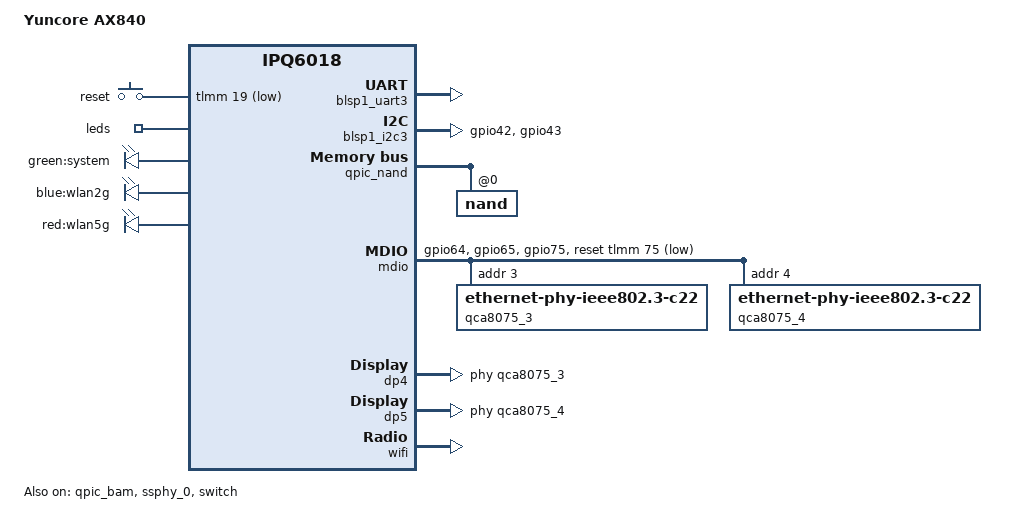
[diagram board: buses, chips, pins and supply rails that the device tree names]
// SPDX-License-Identifier: MIT, GPL-2.0 or later
/* Copyright (c) 2023, Ruslan Isaev <legale.legale@gmail.com> */


/dts-v1/;

#define __IPQ_MEM_PROFILE_512_MB__

#include "ipq6018.dtsi"
#include "ipq6018-memory.dtsi"
#include "ipq6018-ess.dtsi"
#include "ipq6018-upstreamable.dtsi"
#include "ipq6018-regulator-mp5496.dtsi"
#include <dt-bindings/gpio/gpio.h>
#include <dt-bindings/input/input.h>

/ {
	model = "Yuncore AX840";
	compatible = "yuncore,ax840", "qcom,ipq6018", "qcom,ipq6018-cp03", "qcom,ipq6018-cp03-c1";

	aliases {
		serial0 = &blsp1_uart3;
		led-boot = &led_system;
		led-failsafe = &led_system;
		led-running = &led_system;
		led-upgrade = &led_system;
		/*
		 * Aliases as required by u-boot
		 * to patch MAC addresses
		 */
		ethernet0 = &dp5;
		ethernet1 = &dp4;
	};

	chosen {
		stdout-path = "serial0:115200n8";
	};

	keys {
		compatible = "gpio-keys";

		reset {
			label = "reset";
			gpios = <&tlmm 19 GPIO_ACTIVE_LOW>;
			linux,code = <KEY_RESTART>;
		};
		leds {
			compatible = "gpio-leds";
			pinctrl-0 = <&leds_pins>;
			pinctrl-names = "default";

			led_system: system {
				label = "green:system";
				gpio = <&tlmm 37 GPIO_ACTIVE_HIGH>;
			};

			wlan2g {
				label = "blue:wlan2g";
				gpio = <&tlmm 35 GPIO_ACTIVE_HIGH>;
			};

			wlan5g {
				label = "red:wlan5g";
				gpio = <&tlmm 32 GPIO_ACTIVE_HIGH>;
			};
		};
	};
};

&tlmm {
	i2c_1_pins: i2c-1-state {
		pins = "gpio42", "gpio43";
		function = "blsp2_i2c";
		drive-strength = <8>;
	};

	mdio_pins: mdio-state {
		mdc-pins {
			bias-pull-up;
			drive-strength = <8>;
			function = "mdc";
			pins = "gpio64";
		};

		mdio-pins {
			bias-pull-up;
			drive-strength = <8>;
			function = "mdio";
			pins = "gpio65";
		};

		gpio-pins {
			bias-pull-up;
			function = "gpio";
			pins = "gpio75";
		};
	};

	leds_pins: leds_pins {
		led_blue {
			pins = "gpio35";
			function = "gpio";
			drive-strength = <2>;
			bias-pull-down;
		};

		led_green {
			pins = "gpio37";
			function = "gpio";
			drive-strength = <2>;
			bias-pull-down;
		};

		led_red {
			pins = "gpio32";
			function = "gpio";
			drive-strength = <2>;
			bias-pull-down;
		};
	};
};

&blsp1_uart3 {
	pinctrl-0 = <&serial_3_pins>;
	pinctrl-names = "default";
	status = "okay";
};

&blsp1_i2c3 {
	pinctrl-0 = <&i2c_1_pins>;
	pinctrl-names = "default";
	status = "okay";
};

&qpic_bam {
	status = "okay";
};

&qpic_nand {
	status = "okay";

	nand@0 {
		reg = <0>;

		nand-ecc-strength = <4>;
		nand-ecc-step-size = <512>;
		nand-bus-width = <8>;

		partitions {
			compatible = "qcom,smem-part";
		};
	};
};

&ssphy_0 {
	status = "okay";
};

&mdio {
	status = "okay";

	pinctrl-0 = <&mdio_pins>;
	pinctrl-names = "default";
	reset-gpios = <&tlmm 75 GPIO_ACTIVE_LOW>;

	qca8075_3: ethernet-phy@3 {
		compatible = "ethernet-phy-ieee802.3-c22";
		reg = <3>;
	};

	qca8075_4: ethernet-phy@4 {
		compatible = "ethernet-phy-ieee802.3-c22";
		reg = <4>;
	};
};

&switch {
	switch_cpu_bmp = <0x1>;   /* cpu port bitmap */
	switch_lan_bmp = <0x1e>;  /* lan port bitmap */
	switch_wan_bmp = <0x20>;  /* wan port bitmap */
	switch_inner_bmp = <0xc0>;/*inner port bitmap*/
	switch_mac_mode = <0x0>;  /* mac mode for uniphy instance0*/
	switch_mac_mode1 = <0xff>;/* mac mode for uniphy instance1*/
	switch_mac_mode2 = <0xff>;/* mac mode for uniphy instance2*/
	status = "okay";

	qcom,port_phyinfo {
		/delete-node/ port@0;
		/delete-node/ port@1;
		/delete-node/ port@2;
		port@3 {
			port_id = <4>;
			phy_address = <3>;
		};
		port@4 {
			port_id = <5>;
			phy_address = <4>;
		};
	};
};

&edma {
	status = "okay";
};

&dp4 {
	status = "okay";
	phy-handle = <&qca8075_3>;
	label = "lan";
};

&dp5 {
	status = "okay";
	phy-handle = <&qca8075_4>;
	label = "wan";
};


&wifi {
	status = "okay";
	qcom,ath11k-calibration-variant = "Yuncore-AX840";
};
